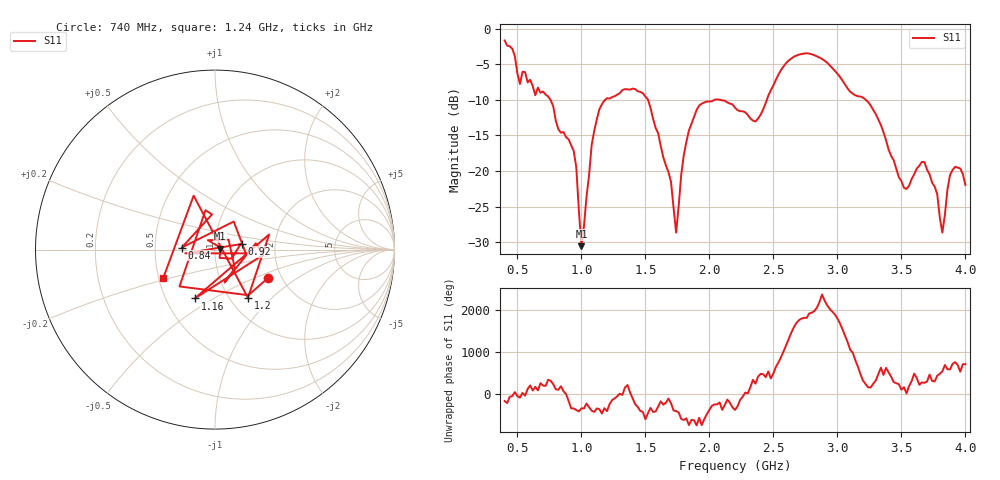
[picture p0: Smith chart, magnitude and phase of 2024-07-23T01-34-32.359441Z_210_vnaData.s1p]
!Created with skrf (http://scikit-rf.org).
# Hz S RI R 50.0
!freq ReS11 ImS11
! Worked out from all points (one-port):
!   181 points, 400 MHz to 4 GHz, reference 50 ohm
!   lowest |S11| = -30.6 dB at 1 GHz (marker M1), VSWR 1.06, Z = 53 + j0.603 ohm
!   |S11| at or under -10 dB: 758.6 MHz to 1.185 GHz (426.5 MHz wide, 43.9 % of centre); 1.521 GHz to 2.038 GHz (517 MHz wide, 29.1 % of centre); 3.222 GHz to end of sweep (the widest 3 of 4)
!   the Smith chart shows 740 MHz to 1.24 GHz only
!   S11 on the Smith chart (normalised r, x): 740 MHz: 1.69, -0.61; 840 MHz: 0.69, +0.02; 920 MHz: 1.35, +0.09; 1.16 GHz: 0.70, -0.41; 1.2 GHz: 1.21, -0.73; 1.24 GHz: 0.53, -0.19
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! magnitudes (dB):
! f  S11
! 400 MHz  -1.6
! 520 MHz  -7.8
! 740 MHz  -9.5
! 840 MHz  -14.6
! 860 MHz  -14.5
! 920 MHz  -16.4
! 960 MHz  -19.5
! 1 GHz  -30.6
! 1.08 GHz  -16.4
! 1.16 GHz  -10.6
! 1.2 GHz  -9.8
! 1.24 GHz  -9.6
! 1.3 GHz  -9.1
! 1.52 GHz  -10.0
! 1.7 GHz  -21.5
! 1.74 GHz  -28.7
! 1.76 GHz  -24.9
! 1.82 GHz  -15.9
! 1.92 GHz  -10.8
! 2.2 GHz  -11.1
! 2.36 GHz  -13.0
! 2.66 GHz  -3.9
! 3.1 GHz  -8.9
! 3.56 GHz  -22.1
! 3.68 GHz  -18.7
! 3.82 GHz  -28.7
! 3.88 GHz  -20.5
! 4 GHz  -22.0
